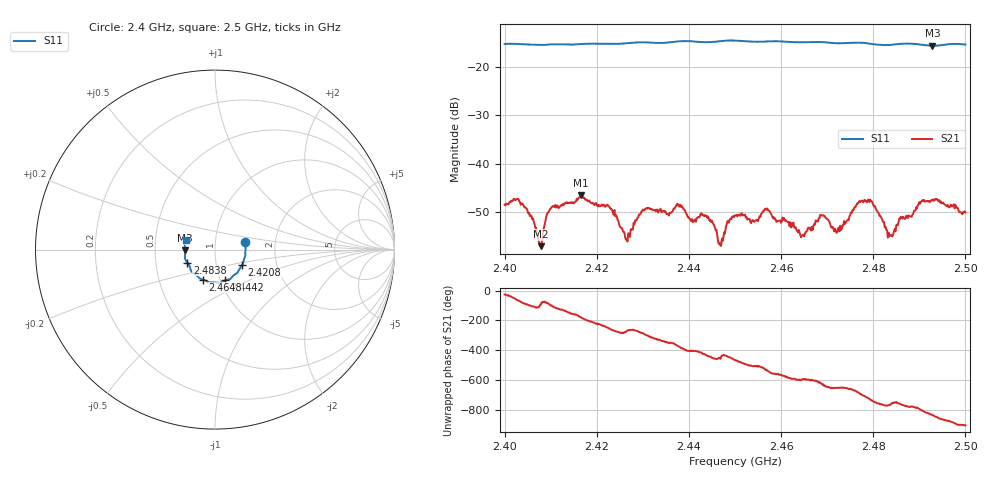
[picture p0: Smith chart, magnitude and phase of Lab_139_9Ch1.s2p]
# Hz S RI R 50
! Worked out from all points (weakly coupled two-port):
!   601 points, 2.4 GHz to 2.5 GHz, reference 50 ohm
!   highest |S21| = -46.54 dB at 2.4165 GHz (marker M1); lowest = -57.0 dB at 2.4078 GHz (marker M2)
!   lowest |S11| = -15.6 dB at 2.4928 GHz (marker M3), VSWR 1.40, Z = 35.8 - j0.351 ohm
!   |S11| at or under -10 dB: start of sweep to end of sweep
!   S12 and S22 are empty: the file has one direction only
!   S11 on the Smith chart (normalised r, x): 2.4 GHz: 1.40, +0.12; 2.4208 GHz: 1.33, -0.24; 2.4442 GHz: 1.05, -0.37; 2.4648 GHz: 0.83, -0.29; 2.4838 GHz: 0.73, -0.11; 2.5 GHz: 0.72, +0.08
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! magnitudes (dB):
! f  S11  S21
! 2.4 GHz  -15.3  -48.5
! 2.4033 GHz  -15.3  -47.9
! 2.4078 GHz  -15.4  -57.0
! 2.41 GHz  -15.3  -49.2
! 2.4165 GHz  -15.2  -46.5
! 2.4167 GHz  -15.2  -46.7
! 2.4208 GHz  -15.2  -48.7
! 2.4267 GHz  -15.1  -56.1
! 2.4333 GHz  -15.0  -50.1
! 2.4442 GHz  -14.9  -50.9
! 2.4468 GHz  -14.7  -56.9
! 2.45 GHz  -14.5  -50.7
! 2.457 GHz  -14.7  -49.2
! 2.4648 GHz  -14.9  -54.6
! 2.4667 GHz  -14.8  -53.0
! 2.469 GHz  -14.9  -50.7
! 2.4725 GHz  -15.1  -53.1
! 2.4792 GHz  -15.2  -47.9
! 2.4833 GHz  -15.5  -54.2
! 2.4838 GHz  -15.4  -54.7
! 2.4928 GHz  -15.6  -47.6
! 2.5 GHz  -15.4  -50.0
